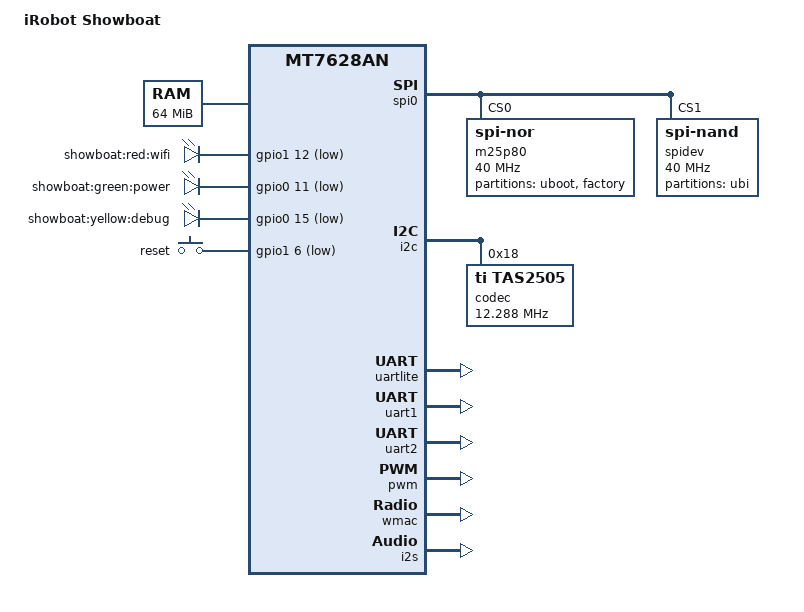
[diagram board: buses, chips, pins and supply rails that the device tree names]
/dts-v1/;

#include "mt7628an.dtsi"

#include <dt-bindings/gpio/gpio.h>
#include <dt-bindings/input/input.h>

/ {
	compatible = "mediatek,showboat", "mediatek,mt7628an-soc";
	model = "iRobot Showboat";

	chosen {
		/* Note that this gets overwritten by (newer version of) the bootloader */
		bootargs = "console=ttyS2,115200";
	};

	aliases {
		serial0 = &uart2;
	};

	memory@0 {
		device_type = "memory";
		reg = <0x0 0x4000000>;
	};

	bootstrap {
		compatible = "mediatek,linkit";
		status = "okay";
	};

	gpio-leds {
		compatible = "gpio-leds";

		wifi {
			label = "showboat:red:wifi";
			gpios = <&gpio1 12 GPIO_ACTIVE_LOW>;
		        linux,default-trigger = "phy0rx";
			default-state = "on";
		};

		power {
			label = "showboat:green:power";
			gpios = <&gpio0 11 GPIO_ACTIVE_LOW>;
		        linux,default-trigger = "default-on";
			default-state = "on";
		};

		debug {
			label = "showboat:yellow:debug";
			gpios = <&gpio0 15 GPIO_ACTIVE_LOW>;
		        linux,default-trigger = "heartbeat";
			default-state = "on";
		};
	};

	gpio-keys-polled {
		compatible = "gpio-keys-polled";
		#address-cells = <1>;
		#size-cells = <0>;
		poll-interval = <20>;

		wps {
			label = "reset";
			gpios = <&gpio1 6 GPIO_ACTIVE_LOW>;
			linux,code = <KEY_WPS_BUTTON>;
		};
	};

        sound {
                compatible = "simple-audio-card";
                status = "okay";
                simple-audio-card,format = "i2s";
                simple-audio-card,name = "Audio-I2S";
                simple-audio-card,bitclock-slave = <&dailink0_slave>;
                simple-audio-card,frame-slave = <&dailink0_slave>;
                simple-audio-card,widgets =
                        "Line", "Line Out",
                        "Speaker", "Speaker";
                simple-audio-card,routing =
                        "Speaker", "Speaker";

                simple-audio-card,mclk-fs = <256>;

                simple-audio-card,cpu {
                      sound-dai = <&i2s>;
                };

                dailink0_slave: simple-audio-card,codec {
                        sound-dai = <&codec>;
                };

                tas2505_mclk: tas2505_mclk {
                        compatible = "fixed-clock";
                        #clock-cells = <0>;
                };
         };
};

&pinctrl {
	state_default: pinctrl0 {
		gpio {
			ralink,group = "gpio";
			ralink,function = "gpio";
		};

		spis {
			ralink,group = "spis";
			ralink,function = "gpio";
		};

		wled_an {
			ralink,group = "wled_an";
			ralink,function = "gpio";
		};

		wdt {
			ralink,group = "wdt";
			ralink,function = "gpio";
		};

           };

           i2s_pins: i2s {
                i2s {
                        ralink,group = "i2s";
                        ralink,function = "i2s";
                };
           };
};

&spi0 {
	status = "okay";

	pinctrl-names = "default";
	pinctrl-0 = <&spi_pins>, <&spi_cs1_pins>;

	m25p80@0 {
		#address-cells = <1>;
		#size-cells = <1>;
		compatible = "jedec,spi-nor";
		reg = <0>;
		spi-max-frequency = <40000000>;
		m25p,chunked-io = <31>;

		uboot: partition@0 {
			label = "uboot";
			reg = <0x0 0xf0000>;
		};
		factory: partition@f0000 {
			label = "factory";
			reg = <0xf0000 0x10000>;
			read-only;
		};
	};

	spidev@1 {
		#address-cells = <1>;
		#size-cells = <1>;
		compatible = "spi-nand";
		reg = <1>;
		spi-max-frequency = <40000000>;

		partitions {
			compatible = "fixed-partitions";
			#address-cells = <1>;
			#size-cells = <1>;

			ubi: partition@0 {
				label = "ubi";
				reg = <0x0 0x8000000>;
			};
		};
	};
};


&i2c {
	status = "okay";
        codec: tas2505@30 {
                #sound-dai-cells = <0>;
                compatible = "ti,tas2505";
                reg = <0x18>;
                clocks = <&tas2505_mclk>;
                clock-names = "mclk";
                clock-frequency = <12288000>;
		pinctrl-names = "default";
		pinctrl-0 = <&refclk_pins>;
		ti,shared-lrclk;
        };
};

&uartlite {
	status = "okay";
};

&uart1 {
	status = "okay";
};

&uart2 {
	status = "okay";
};

&pwm {
	status = "okay";
};

&ethernet {
	mtd-mac-address = <&factory 0x28>;
};

&wmac {
	status = "okay";
};

&esw {
	mediatek,portmap = <0x3>;
	mediatek,portdisable = <0x3c>;
};

&i2s {
	#sound-dai-cells = <0>;
	status = "okay";
};

&gdma {
	status = "okay";
};
